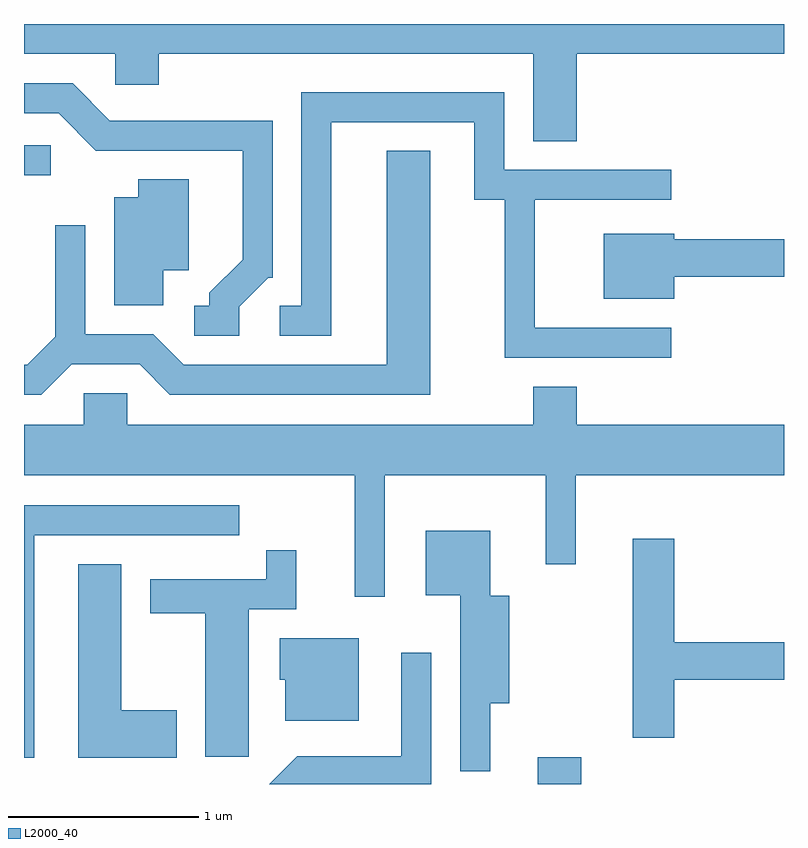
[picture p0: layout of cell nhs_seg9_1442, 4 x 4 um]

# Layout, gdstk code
import gdstk
lib = gdstk.Library(unit=1e-6, precision=1e-09)
def R(c, l, rs):  # rectangles x0, y0, x1, y1
    for r in rs: c.add(gdstk.rectangle(r[:2], r[2:], *l))
def P(c, l, *ps):  # polygons
    for p in ps: c.add(gdstk.Polygon(p, *l))
L2000_40 = (2000, 40)

nhs_seg9_1442 = lib.new_cell('nhs_seg9_1442')
R(nhs_seg9_1442, L2000_40, [(230.316,1972.432,230.544,1972.574), (227.611,1975.636,227.753,1975.794)])
P(nhs_seg9_1442, L2000_40, [(230.519,1976.276),(231.611,1976.276),(231.611,1976.432),(227.611,1976.432),(227.611,1976.276),(228.091,1976.276),(228.091,1976.111),(228.319,1976.111),(228.319,1976.276),(230.291,1976.276),(230.291,1975.816),(230.519,1975.816)],
  [(228.744,1974.944),(228.897,1975.096),(228.919,1975.096),(228.919,1975.924),(228.062,1975.924),(227.867,1976.119),(227.611,1976.119),(227.611,1975.961),(227.794,1975.961),(227.989,1975.766),(228.761,1975.766),(228.761,1975.192),(228.586,1975.017),(228.586,1974.949),(228.508,1974.949),(228.508,1974.791),(228.744,1974.791)],
  [(231.018,1974.834),(230.299,1974.834),(230.299,1975.506),(231.018,1975.506),(231.018,1975.664),(230.139,1975.664),(230.139,1976.074),(229.071,1976.074),(229.071,1974.949),(228.958,1974.949),(228.958,1974.791),(229.229,1974.791),(229.229,1975.916),(229.981,1975.916),(229.981,1975.506),(230.141,1975.506),(230.141,1974.676),(231.018,1974.676)],
  [(227.862,1974.641),(228.219,1974.641),(228.379,1974.481),(229.749,1974.481),(229.749,1975.764),(229.521,1975.764),(229.521,1974.639),(228.452,1974.639),(228.292,1974.799),(227.934,1974.799),(227.934,1975.373),(227.776,1975.373),(227.776,1974.787),(227.629,1974.639),(227.611,1974.639),(227.611,1974.481),(227.702,1974.481)],
  [(228.344,1975.136),(228.479,1975.136),(228.479,1975.614),(228.211,1975.614),(228.211,1975.519),(228.086,1975.519),(228.086,1974.951),(228.344,1974.951)],
  [(231.034,1975.101),(231.611,1975.101),(231.611,1975.299),(231.034,1975.299),(231.034,1975.329),(230.661,1975.329),(230.661,1974.986),(231.034,1974.986)],
  [(230.291,1974.524),(230.291,1974.324),(228.154,1974.324),(228.154,1974.489),(227.926,1974.489),(227.926,1974.324),(227.611,1974.324),(227.611,1974.056),(229.351,1974.056),(229.351,1973.418),(229.509,1973.418),(229.509,1974.056),(230.356,1974.056),(230.356,1973.588),(230.514,1973.588),(230.514,1974.056),(231.611,1974.056),(231.611,1974.324),(230.519,1974.324),(230.519,1974.524)],
  [(227.664,1973.741),(228.743,1973.741),(228.743,1973.899),(227.611,1973.899),(227.611,1972.571),(227.664,1972.571)],
  [(230.064,1972.856),(230.164,1972.856),(230.164,1973.424),(230.064,1973.424),(230.064,1973.764),(229.726,1973.764),(229.726,1973.426),(229.906,1973.426),(229.906,1972.498),(230.064,1972.498)],
  [(231.034,1972.981),(231.611,1972.981),(231.611,1973.179),(231.034,1973.179),(231.034,1973.724),(230.816,1973.724),(230.816,1972.676),(231.034,1972.676)],
  [(228.794,1973.351),(229.044,1973.351),(229.044,1973.663),(228.886,1973.663),(228.886,1973.509),(228.276,1973.509),(228.276,1973.331),(228.566,1973.331),(228.566,1972.576),(228.794,1972.576)],
  [(228.414,1972.819),(228.124,1972.819),(228.124,1973.589),(227.896,1973.589),(227.896,1972.571),(228.414,1972.571)],
  [(229.374,1973.199),(228.956,1973.199),(228.956,1972.981),(228.986,1972.981),(228.986,1972.766),(229.374,1972.766)],
  [(229.754,1973.123),(229.596,1973.123),(229.596,1972.579),(229.049,1972.579),(228.902,1972.432),(229.754,1972.432)])

lib.write_gds('nhs_seg9_1442.gds')
